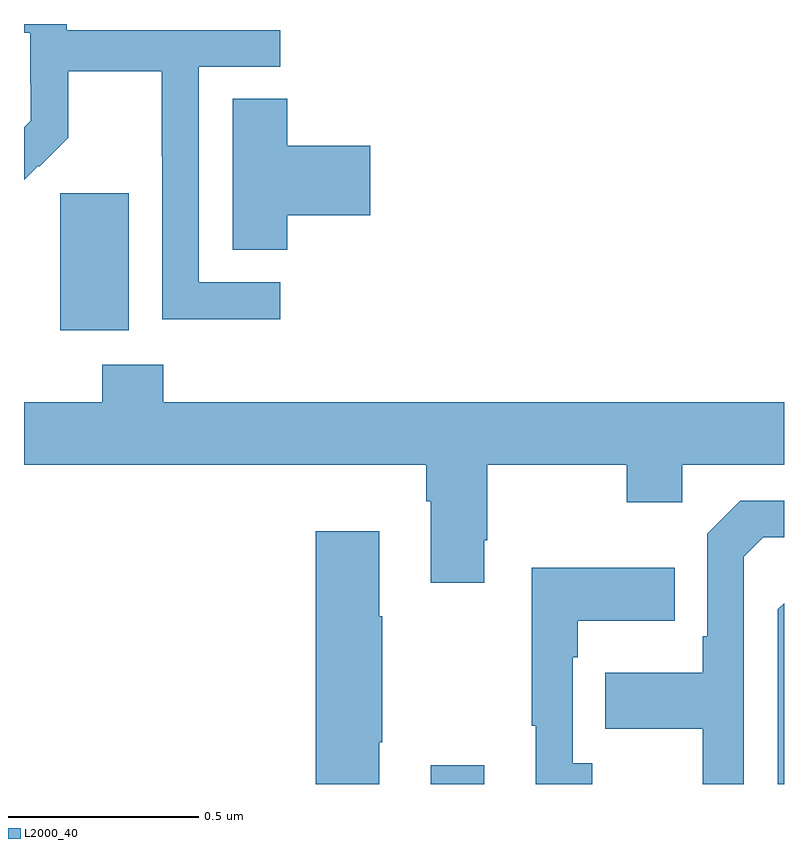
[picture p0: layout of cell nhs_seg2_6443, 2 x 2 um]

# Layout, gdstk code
import gdstk
lib = gdstk.Library(unit=1e-6, precision=1e-09)
def R(c, l, rs):  # rectangles x0, y0, x1, y1
    for r in rs: c.add(gdstk.rectangle(r[:2], r[2:], *l))
def P(c, l, *ps):  # polygons
    for p in ps: c.add(gdstk.Polygon(p, *l))
L2000_40 = (2000, 40)

nhs_seg2_6443 = lib.new_cell('nhs_seg2_6443')
R(nhs_seg2_6443, L2000_40, [(192.071,642.8,192.211,642.85), (191.096,643.994,191.275,644.355)])
P(nhs_seg2_6443, L2000_40, [(191.674,644.121),(191.46,644.121),(191.46,644.688),(191.674,644.688),(191.674,644.784),(191.112,644.784),(191.112,644.8),(191,644.8),(191,644.777),(191.016,644.777),(191.016,644.643),(191.018,644.643),(191.018,644.546),(191,644.528),(191,644.39),(191.037,644.427),(191.04,644.424),(191.117,644.501),(191.117,644.676),(191.362,644.676),(191.362,644.452),(191.364,644.452),(191.364,644.023),(191.674,644.023)],
  [(191.693,644.297),(191.911,644.297),(191.911,644.48),(191.693,644.48),(191.693,644.603),(191.549,644.603),(191.549,644.206),(191.693,644.206)],
  [(192.211,643.441),(192.219,643.441),(192.219,643.64),(192.586,643.64),(192.586,643.541),(192.732,643.541),(192.732,643.64),(193,643.64),(193,643.804),(191.366,643.804),(191.366,643.903),(191.206,643.903),(191.206,643.804),(191,643.804),(191,643.64),(192.059,643.64),(192.059,643.544),(192.071,643.544),(192.071,643.329),(192.211,643.329)],
  [(192.894,643.398),(192.945,643.449),(193,643.449),(193,643.545),(192.885,643.545),(192.798,643.458),(192.798,643.189),(192.786,643.189),(192.786,643.093),(192.529,643.093),(192.529,642.946),(192.786,642.946),(192.786,642.8),(192.894,642.8)],
  [(191.935,642.91),(191.943,642.91),(191.943,643.241),(191.935,643.241),(191.935,643.465),(191.768,643.465),(191.768,642.8),(191.935,642.8)],
  [(192.496,642.854),(192.444,642.854),(192.444,643.133),(192.457,643.133),(192.457,643.229),(192.713,643.229),(192.713,643.369),(192.336,643.369),(192.336,642.953),(192.347,642.953),(192.347,642.8),(192.496,642.8)],
  [(193,643.276),(192.984,643.26),(192.984,642.8),(193,642.8)])

lib.write_gds('nhs_seg2_6443.gds')
